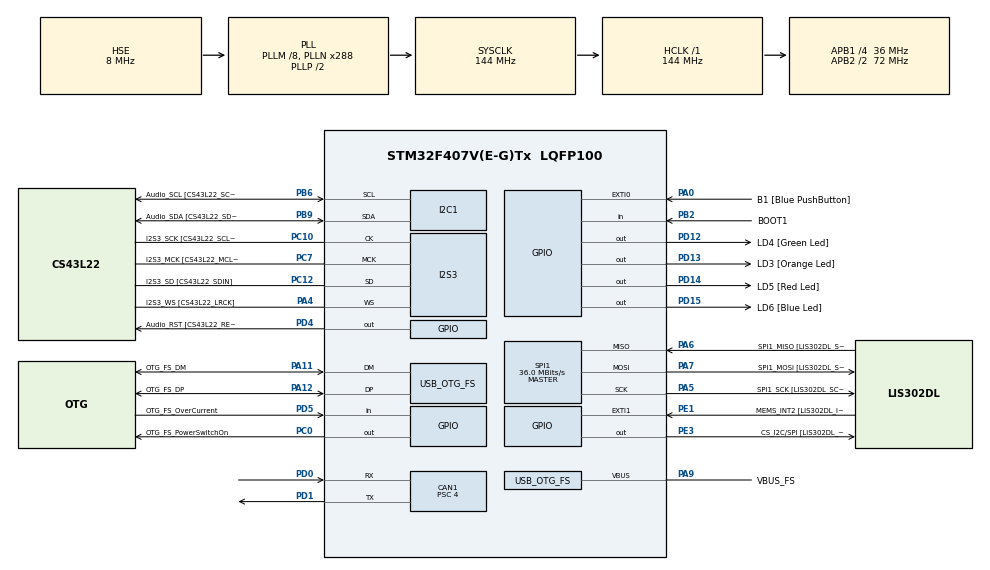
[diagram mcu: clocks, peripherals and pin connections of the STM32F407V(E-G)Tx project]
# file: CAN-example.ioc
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CAN1.BS1=CAN_BS1_12TQ
CAN1.BS2=CAN_BS2_5TQ
CAN1.CalculateTimeQuantum=111.11111111111111
CAN1.Prescaler=4
FREERTOS.MEMORY_ALLOCATION=2
FREERTOS.Tasks01=defaultTask,0,128,StartDefaultTask,Default,NULL,Static,defaultTaskBuffer,defaultTaskControlBlock
FREERTOS.configCHECK_FOR_STACK_OVERFLOW=1
FREERTOS.configUSE_MALLOC_FAILED_HOOK=1
I2S3.AudioFreq-Half_Duplex_Master=I2S_AUDIOFREQ_96K
I2S3.ErrorAudioFreq=-2.34 %
I2S3.ErrorAudioFreq-Half_Duplex_Master=0.8 %
I2S3.FullDuplexMode=I2S_FULLDUPLEXMODE_DISABLE
I2S3.Instance=SPI$Index
I2S3.RealAudioFreq=93.75 KHz
I2S3.RealAudioFreq-Half_Duplex_Master=96.774 KHz
I2S3.VirtualMode=I2S_MODE_MASTER
Mcu.Family=STM32F4
Mcu.Name=STM32F407V(E-G)Tx
Mcu.Package=LQFP100
NVIC.CAN1_RX0_IRQn=true\:0\:0\:false\:false\:true\:false\:true\:true
NVIC.EXTI0_IRQn=true\:0\:0\:false\:false\:true\:false\:true\:true
NVIC.OTG_FS_IRQn=true\:0\:0\:false\:false\:true\:false\:true\:true
NVIC.PriorityGroup=NVIC_PRIORITYGROUP_4
NVIC.TIM8_TRG_COM_TIM14_IRQn=true\:0\:0\:false\:false\:true\:false\:false\:true
NVIC.TimeBase=TIM8_TRG_COM_TIM14_IRQn
NVIC.TimeBaseIP=TIM14
PA0-WKUP.GPIO_Label=B1 [Blue PushButton]
PA0-WKUP.GPIO_ModeDefaultEXTI=GPIO_MODE_IT_RISING
PA0-WKUP.GPIO_PuPd=GPIO_NOPULL
PA0-WKUP.Signal=GPXTI0
PA10.GPIO_Label=OTG_FS_ID
PA10.GPIO_Mode=GPIO_MODE_AF_PP
PA10.GPIO_PuPd=GPIO_NOPULL
PA10.GPIO_Speed=GPIO_SPEED_FREQ_LOW
PA10.Signal=USB_OTG_FS_ID
PA11.GPIO_Label=OTG_FS_DM
PA11.GPIO_Mode=GPIO_MODE_AF_PP
PA11.GPIO_PuPd=GPIO_NOPULL
PA11.GPIO_Speed=GPIO_SPEED_FREQ_LOW
PA11.Mode=Host_Only
PA11.Signal=USB_OTG_FS_DM
PA12.GPIO_Label=OTG_FS_DP
PA12.GPIO_Mode=GPIO_MODE_AF_PP
PA12.GPIO_PuPd=GPIO_NOPULL
PA12.GPIO_Speed=GPIO_SPEED_FREQ_LOW
PA12.Mode=Host_Only
PA12.Signal=USB_OTG_FS_DP
PA13.GPIO_Label=SWDIO
PA13.Mode=Serial_Wire
PA13.Signal=SYS_JTMS-SWDIO
PA14.GPIO_Label=SWCLK
PA14.Mode=Serial_Wire
PA14.Signal=SYS_JTCK-SWCLK
PA4.GPIO_Label=I2S3_WS [CS43L22_LRCK]
PA4.GPIO_Mode=GPIO_MODE_AF_PP
PA4.GPIO_PuPd=GPIO_NOPULL
PA4.GPIO_Speed=GPIO_SPEED_FREQ_LOW
PA4.Mode=Half_Duplex_Master
PA4.Signal=I2S3_WS
PA5.GPIO_Label=SPI1_SCK [LIS302DL_SCL/SPC]
PA5.GPIO_Mode=GPIO_MODE_AF_PP
PA5.GPIO_PuPd=GPIO_NOPULL
PA5.GPIO_Speed=GPIO_SPEED_FREQ_LOW
PA5.Mode=Full_Duplex_Master
PA5.Signal=SPI1_SCK
PA6.GPIO_Label=SPI1_MISO [LIS302DL_SDO]
PA6.GPIO_Mode=GPIO_MODE_AF_PP
PA6.GPIO_PuPd=GPIO_NOPULL
PA6.GPIO_Speed=GPIO_SPEED_FREQ_LOW
PA6.Mode=Full_Duplex_Master
PA6.Signal=SPI1_MISO
PA7.GPIO_Label=SPI1_MOSI [LIS302DL_SDA/SDI/SDO]
PA7.GPIO_Mode=GPIO_MODE_AF_PP
PA7.GPIO_PuPd=GPIO_NOPULL
PA7.GPIO_Speed=GPIO_SPEED_FREQ_LOW
PA7.Mode=Full_Duplex_Master
PA7.Signal=SPI1_MOSI
PA9.GPIO_Label=VBUS_FS
PA9.GPIO_Mode=GPIO_MODE_INPUT
PA9.GPIO_PuPd=GPIO_NOPULL
PA9.Mode=Activate_VBUS
PA9.Signal=USB_OTG_FS_VBUS
PB10.GPIO_Label=CLK_IN [MP45DT02_CLK]
PB10.GPIO_Mode=GPIO_MODE_AF_PP
PB10.GPIO_PuPd=GPIO_NOPULL
PB10.GPIO_Speed=GPIO_SPEED_FREQ_LOW
PB10.Signal=I2S2_CK
PB2.GPIO_Label=BOOT1
PB2.GPIO_Mode=GPIO_MODE_INPUT
PB2.GPIO_PuPd=GPIO_NOPULL
PB2.Signal=GPIO_Input
PB3.GPIO_Label=SWO
PB3.Signal=SYS_JTDO-SWO
PB6.GPIO_Label=Audio_SCL [CS43L22_SCL]
PB6.GPIO_Mode=GPIO_MODE_AF_OD
PB6.GPIO_PuPd=GPIO_NOPULL
PB6.GPIO_Speed=GPIO_SPEED_FREQ_LOW
PB6.Mode=I2C
PB6.Signal=I2C1_SCL
PB9.GPIO_Label=Audio_SDA [CS43L22_SDA]
PB9.GPIO_Mode=GPIO_MODE_AF_OD
PB9.GPIO_PuPd=GPIO_NOPULL
PB9.GPIO_Speed=GPIO_SPEED_FREQ_LOW
PB9.Mode=I2C
PB9.Signal=I2C1_SDA
PC0.GPIO_Label=OTG_FS_PowerSwitchOn
PC0.GPIO_PuPd=GPIO_NOPULL
PC0.GPIO_Speed=GPIO_SPEED_FREQ_LOW
PC0.PinState=GPIO_PIN_SET
PC0.Signal=GPIO_Output
PC10.GPIO_Label=I2S3_SCK [CS43L22_SCLK]
PC10.GPIO_Mode=GPIO_MODE_AF_PP
PC10.GPIO_PuPd=GPIO_NOPULL
PC10.GPIO_Speed=GPIO_SPEED_FREQ_LOW
PC10.Mode=Half_Duplex_Master
PC10.Signal=I2S3_CK
PC12.GPIO_Label=I2S3_SD [CS43L22_SDIN]
PC12.GPIO_Mode=GPIO_MODE_AF_PP
PC12.GPIO_PuPd=GPIO_NOPULL
PC12.GPIO_Speed=GPIO_SPEED_FREQ_LOW
PC12.Mode=Half_Duplex_Master
PC12.Signal=I2S3_SD
PC14-OSC32_IN.GPIO_Label=PC14-OSC32_IN
PC14-OSC32_IN.Mode=LSE-External-Oscillator
PC14-OSC32_IN.Signal=RCC_OSC32_IN
PC15-OSC32_OUT.GPIO_Label=PC15-OSC32_OUT
PC15-OSC32_OUT.Mode=LSE-External-Oscillator
PC15-OSC32_OUT.Signal=RCC_OSC32_OUT
PC3.GPIO_Label=PDM_OUT [MP45DT02_DOUT]
PC3.GPIO_Mode=GPIO_MODE_AF_PP
PC3.GPIO_PuPd=GPIO_NOPULL
PC3.GPIO_Speed=GPIO_SPEED_FREQ_LOW
PC3.Signal=I2S2_SD
PC7.GPIO_Label=I2S3_MCK [CS43L22_MCLK]
PC7.GPIO_Mode=GPIO_MODE_AF_PP
PC7.GPIO_PuPd=GPIO_NOPULL
PC7.GPIO_Speed=GPIO_SPEED_FREQ_LOW
PC7.Mode=Master_Clock_Activated
PC7.Signal=I2S3_MCK
PD0.Mode=Master
PD0.Signal=CAN1_RX
PD1.Mode=Master
PD1.Signal=CAN1_TX
PD12.GPIO_Label=LD4 [Green Led]
PD12.GPIO_PuPd=GPIO_NOPULL
PD12.GPIO_Speed=GPIO_SPEED_FREQ_LOW
PD12.Signal=GPIO_Output
PD13.GPIO_Label=LD3 [Orange Led]
PD13.GPIO_PuPd=GPIO_NOPULL
PD13.GPIO_Speed=GPIO_SPEED_FREQ_LOW
PD13.Signal=GPIO_Output
PD14.GPIO_Label=LD5 [Red Led]
PD14.GPIO_PuPd=GPIO_NOPULL
PD14.GPIO_Speed=GPIO_SPEED_FREQ_LOW
PD14.Signal=GPIO_Output
PD15.GPIO_Label=LD6 [Blue Led]
PD15.GPIO_PuPd=GPIO_NOPULL
PD15.GPIO_Speed=GPIO_SPEED_FREQ_LOW
PD15.Signal=GPIO_Output
PD4.GPIO_Label=Audio_RST [CS43L22_RESET]
PD4.GPIO_PuPd=GPIO_NOPULL
PD4.GPIO_Speed=GPIO_SPEED_FREQ_LOW
PD4.Signal=GPIO_Output
PD5.GPIO_Label=OTG_FS_OverCurrent
PD5.GPIO_Mode=GPIO_MODE_INPUT
PD5.GPIO_PuPd=GPIO_NOPULL
PD5.Signal=GPIO_Input
PE1.GPIO_Label=MEMS_INT2 [LIS302DL_INT2]
PE1.GPIO_ModeDefaultEXTI=GPIO_MODE_EVT_RISING
PE1.GPIO_PuPd=GPIO_NOPULL
PE1.Signal=GPXTI1
PE3.GPIO_Label=CS_I2C/SPI [LIS302DL_CS_I2C/SPI]
PE3.GPIO_PuPd=GPIO_NOPULL
PE3.GPIO_Speed=GPIO_SPEED_FREQ_LOW
PE3.Signal=GPIO_Output
PH0-OSC_IN.GPIO_Label=PH0-OSC_IN
PH0-OSC_IN.Mode=HSE-External-Oscillator
PH0-OSC_IN.Signal=RCC_OSC_IN
PH1-OSC_OUT.GPIO_Label=PH1-OSC_OUT
PH1-OSC_OUT.Mode=HSE-External-Oscillator
PH1-OSC_OUT.Signal=RCC_OSC_OUT
ProjectManager.HeapSize=0x200
ProjectManager.StackSize=0x400
ProjectManager.TargetToolchain=STM32CubeIDE
RCC.48MHZClocksFreq_Value=48000000
RCC.AHBFreq_Value=144000000
RCC.APB1CLKDivider=RCC_HCLK_DIV4
RCC.APB1Freq_Value=36000000
RCC.APB1TimFreq_Value=72000000
RCC.APB2CLKDivider=RCC_HCLK_DIV2
RCC.APB2Freq_Value=72000000
RCC.APB2TimFreq_Value=144000000
RCC.CortexFreq_Value=144000000
RCC.HCLKFreq_Value=144000000
RCC.HSE_VALUE=8000000
RCC.HSI_VALUE=16000000
RCC.PLLM=8
RCC.PLLN=288
RCC.PLLQ=6
RCC.SYSCLKFreq_VALUE=144000000
RCC.SYSCLKSource=RCC_SYSCLKSOURCE_PLLCLK
RCC.VCOOutputFreq_Value=288000000
SPI1.BaudRatePrescaler-Full_Duplex_Master=SPI_BAUDRATEPRESCALER_2
SPI1.CalculateBaudRate=36.0 MBits/s
SPI1.CalculateBaudRate-Full_Duplex_Master=42.0 MBits/s
SPI1.Direction=SPI_DIRECTION_2LINES
SPI1.Mode=SPI_MODE_MASTER
SPI1.Mode-Full_Duplex_Master=SPI_MODE_MASTER
SPI1.VirtualType=VM_MASTER
USB_HOST.BSP.number=1
USB_HOST.USBH_HandleTypeDef-CDC_FS=hUsbHostFS
USB_HOST.USBH_USE_OS-CDC_FS=0
USB_HOST.VirtualModeFS=Cdc
USB_HOST0.BSP.STBoard=false
USB_HOST0.BSP.api=Unknown
USB_HOST0.BSP.i2caddr=0
USB_HOST0.BSP.i2creg=0
USB_HOST0.BSP.instance=PC0
USB_HOST0.BSP.ip=GPIO
USB_HOST0.BSP.mode=Output
USB_HOST0.BSP.name=Drive_VBUS_FS
USB_HOST0.BSP.solution=PC0
USB_OTG_FS.VirtualMode=Host_Only
USB_OTG_FS.phy_itface=HCD_PHY_EMBEDDED
VP_FREERTOS_VS_CMSIS_V1.Mode=CMSIS_V1
VP_SYS_VS_tim14.Mode=TIM14
VP_USB_HOST_VS_USB_HOST_CDC_FS.Mode=CDC_FS
board=STM32F407G-DISC1

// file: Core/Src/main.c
/* USER CODE BEGIN Header */
/**
  ******************************************************************************
  * @file           : main.c
  * @brief          : Main program body
  ******************************************************************************
  * @attention
  *
  * <h2><center>&copy; Copyright (c) 2020 STMicroelectronics.
  * All rights reserved.</center></h2>
  *
  * This software component is licensed by ST under Ultimate Liberty license
  * SLA0044, the "License"; You may not use this file except in compliance with
  * the License. You may obtain a copy of the License at:
  *                             www.st.com/SLA0044
  *
  ******************************************************************************
  */
/* USER CODE END Header */
#include "main.h"
#include "cmsis_os.h"
#include "usb_host.h"

CAN_HandleTypeDef hcan1;

I2C_HandleTypeDef hi2c1;

I2S_HandleTypeDef hi2s3;

SPI_HandleTypeDef hspi1;

osThreadId defaultTaskHandle;
uint32_t defaultTaskBuffer[ 128 ];
osStaticThreadDef_t defaultTaskControlBlock;
/* USER CODE BEGIN PV */
CAN_TxHeaderTypeDef pHeader; //declare a specific header for message transmittions
CAN_RxHeaderTypeDef pRxHeader; //declare header for message reception
uint32_t TxMailbox;
uint8_t a,r; //declare byte to be transmitted //declare a receive byte
CAN_FilterTypeDef sFilterConfig; //declare CAN filter structure
/* USER CODE END PV */

void SystemClock_Config(void);
static void MX_GPIO_Init(void);
static void MX_I2C1_Init(void);
static void MX_I2S3_Init(void);
static void MX_SPI1_Init(void);
static void MX_CAN1_Init(void);
void StartDefaultTask(void const * argument);

int main(void)
{

  /* MCU Configuration--------------------------------------------------------*/

  /* Reset of all peripherals, Initializes the Flash interface and the Systick. */
  HAL_Init();

  /* USER CODE BEGIN Init */
  uwTickPrio = 15;
  /* USER CODE END Init */

  /* Configure the system clock */
  SystemClock_Config();

  /* Initialize all configured peripherals */
  MX_GPIO_Init();
  MX_I2C1_Init();
  MX_I2S3_Init();
  MX_SPI1_Init();
  MX_CAN1_Init();
  /* USER CODE BEGIN 2 */
  pHeader.DLC=1; //give message size of 1 byte
  pHeader.IDE=CAN_ID_STD; //set identifier to standard
  pHeader.RTR=CAN_RTR_DATA; //set data type to remote transmission request?
  pHeader.StdId=0x244; //define a standard identifier, used for message identification by filters (switch this for the other microcontroller)

  //filter one (stack light blink)
  sFilterConfig.FilterFIFOAssignment=CAN_FILTER_FIFO0; //set fifo assignment
  sFilterConfig.FilterIdHigh=0x245<<5; //the ID that the filter looks for (switch this for the other microcontroller)
  sFilterConfig.FilterIdLow=0;
  sFilterConfig.FilterMaskIdHigh=0;
  sFilterConfig.FilterMaskIdLow=0;
  sFilterConfig.FilterScale=CAN_FILTERSCALE_32BIT; //set filter scale
  sFilterConfig.FilterActivation=ENABLE;

  HAL_CAN_ConfigFilter(&hcan1, &sFilterConfig); //configure CAN filter

  HAL_CAN_Start(&hcan1); //start CAN
  HAL_CAN_ActivateNotification(&hcan1, CAN_IT_RX_FIFO0_MSG_PENDING); //enable interrupts
  /* USER CODE END 2 */

  /* Create the thread(s) */
  /* definition and creation of defaultTask */
  osThreadStaticDef(defaultTask, StartDefaultTask, osPriorityNormal, 0, 128, defaultTaskBuffer, &defaultTaskControlBlock);
  defaultTaskHandle = osThreadCreate(osThread(defaultTask), NULL);

  /* Start scheduler */
  osKernelStart();

  /* We should never get here as control is now taken by the scheduler */
  /* Infinite loop */
  while (1)
  {

  }
}

void SystemClock_Config(void)
{
  RCC_OscInitTypeDef RCC_OscInitStruct = {0};
  RCC_ClkInitTypeDef RCC_ClkInitStruct = {0};
  RCC_PeriphCLKInitTypeDef PeriphClkInitStruct = {0};

  /** Configure the main internal regulator output voltage
  */
  __HAL_RCC_PWR_CLK_ENABLE();
  __HAL_PWR_VOLTAGESCALING_CONFIG(PWR_REGULATOR_VOLTAGE_SCALE1);
  /** Initializes the RCC Oscillators according to the specified parameters
  * in the RCC_OscInitTypeDef structure.
  */
  RCC_OscInitStruct.OscillatorType = RCC_OSCILLATORTYPE_HSE;
  RCC_OscInitStruct.HSEState = RCC_HSE_ON;
  RCC_OscInitStruct.PLL.PLLState = RCC_PLL_ON;
  RCC_OscInitStruct.PLL.PLLSource = RCC_PLLSOURCE_HSE;
  RCC_OscInitStruct.PLL.PLLM = 8;
  RCC_OscInitStruct.PLL.PLLN = 288;
  RCC_OscInitStruct.PLL.PLLP = RCC_PLLP_DIV2;
  RCC_OscInitStruct.PLL.PLLQ = 6;
  if (HAL_RCC_OscConfig(&RCC_OscInitStruct) != HAL_OK)
  {
    Error_Handler();
  }
  /** Initializes the CPU, AHB and APB buses clocks
  */
  RCC_ClkInitStruct.ClockType = RCC_CLOCKTYPE_HCLK|RCC_CLOCKTYPE_SYSCLK
                              |RCC_CLOCKTYPE_PCLK1|RCC_CLOCKTYPE_PCLK2;
  RCC_ClkInitStruct.SYSCLKSource = RCC_SYSCLKSOURCE_PLLCLK;
  RCC_ClkInitStruct.AHBCLKDivider = RCC_SYSCLK_DIV1;
  RCC_ClkInitStruct.APB1CLKDivider = RCC_HCLK_DIV4;
  RCC_ClkInitStruct.APB2CLKDivider = RCC_HCLK_DIV2;

  if (HAL_RCC_ClockConfig(&RCC_ClkInitStruct, FLASH_LATENCY_4) != HAL_OK)
  {
    Error_Handler();
  }
  PeriphClkInitStruct.PeriphClockSelection = RCC_PERIPHCLK_I2S;
  PeriphClkInitStruct.PLLI2S.PLLI2SN = 192;
  PeriphClkInitStruct.PLLI2S.PLLI2SR = 2;
  if (HAL_RCCEx_PeriphCLKConfig(&PeriphClkInitStruct) != HAL_OK)
  {
    Error_Handler();
  }
}

static void MX_CAN1_Init(void)
{

  hcan1.Instance = CAN1;
  hcan1.Init.Prescaler = 4;
  hcan1.Init.Mode = CAN_MODE_NORMAL;
  hcan1.Init.SyncJumpWidth = CAN_SJW_1TQ;
  hcan1.Init.TimeSeg1 = CAN_BS1_12TQ;
  hcan1.Init.TimeSeg2 = CAN_BS2_5TQ;
  hcan1.Init.TimeTriggeredMode = DISABLE;
  hcan1.Init.AutoBusOff = DISABLE;
  hcan1.Init.AutoWakeUp = DISABLE;
  hcan1.Init.AutoRetransmission = DISABLE;
  hcan1.Init.ReceiveFifoLocked = DISABLE;
  hcan1.Init.TransmitFifoPriority = DISABLE;
  if (HAL_CAN_Init(&hcan1) != HAL_OK)
  {
    Error_Handler();
  }

}

static void MX_I2C1_Init(void)
{

  hi2c1.Instance = I2C1;
  hi2c1.Init.ClockSpeed = 100000;
  hi2c1.Init.DutyCycle = I2C_DUTYCYCLE_2;
  hi2c1.Init.OwnAddress1 = 0;
  hi2c1.Init.AddressingMode = I2C_ADDRESSINGMODE_7BIT;
  hi2c1.Init.DualAddressMode = I2C_DUALADDRESS_DISABLE;
  hi2c1.Init.OwnAddress2 = 0;
  hi2c1.Init.GeneralCallMode = I2C_GENERALCALL_DISABLE;
  hi2c1.Init.NoStretchMode = I2C_NOSTRETCH_DISABLE;
  if (HAL_I2C_Init(&hi2c1) != HAL_OK)
  {
    Error_Handler();
  }

}

static void MX_I2S3_Init(void)
{

  hi2s3.Instance = SPI3;
  hi2s3.Init.Mode = I2S_MODE_MASTER_TX;
  hi2s3.Init.Standard = I2S_STANDARD_PHILIPS;
  hi2s3.Init.DataFormat = I2S_DATAFORMAT_16B;
  hi2s3.Init.MCLKOutput = I2S_MCLKOUTPUT_ENABLE;
  hi2s3.Init.AudioFreq = I2S_AUDIOFREQ_96K;
  hi2s3.Init.CPOL = I2S_CPOL_LOW;
  hi2s3.Init.ClockSource = I2S_CLOCK_PLL;
  hi2s3.Init.FullDuplexMode = I2S_FULLDUPLEXMODE_DISABLE;
  if (HAL_I2S_Init(&hi2s3) != HAL_OK)
  {
    Error_Handler();
  }

}

static void MX_SPI1_Init(void)
{

  /* SPI1 parameter configuration*/
  hspi1.Instance = SPI1;
  hspi1.Init.Mode = SPI_MODE_MASTER;
  hspi1.Init.Direction = SPI_DIRECTION_2LINES;
  hspi1.Init.DataSize = SPI_DATASIZE_8BIT;
  hspi1.Init.CLKPolarity = SPI_POLARITY_LOW;
  hspi1.Init.CLKPhase = SPI_PHASE_1EDGE;
  hspi1.Init.NSS = SPI_NSS_SOFT;
  hspi1.Init.BaudRatePrescaler = SPI_BAUDRATEPRESCALER_2;
  hspi1.Init.FirstBit = SPI_FIRSTBIT_MSB;
  hspi1.Init.TIMode = SPI_TIMODE_DISABLE;
  hspi1.Init.CRCCalculation = SPI_CRCCALCULATION_DISABLE;
  hspi1.Init.CRCPolynomial = 10;
  if (HAL_SPI_Init(&hspi1) != HAL_OK)
  {
    Error_Handler();
  }

}

static void MX_GPIO_Init(void)
{
  GPIO_InitTypeDef GPIO_InitStruct = {0};

  /* GPIO Ports Clock Enable */
  __HAL_RCC_GPIOE_CLK_ENABLE();
  __HAL_RCC_GPIOC_CLK_ENABLE();
  __HAL_RCC_GPIOH_CLK_ENABLE();
  __HAL_RCC_GPIOA_CLK_ENABLE();
  __HAL_RCC_GPIOB_CLK_ENABLE();
  __HAL_RCC_GPIOD_CLK_ENABLE();

  /*Configure GPIO pin Output Level */
  HAL_GPIO_WritePin(CS_I2C_SPI_GPIO_Port, CS_I2C_SPI_Pin, GPIO_PIN_RESET);

  /*Configure GPIO pin Output Level */
  HAL_GPIO_WritePin(OTG_FS_PowerSwitchOn_GPIO_Port, OTG_FS_PowerSwitchOn_Pin, GPIO_PIN_SET);

  /*Configure GPIO pin Output Level */
  HAL_GPIO_WritePin(GPIOD, LD4_Pin|LD3_Pin|LD5_Pin|LD6_Pin
                          |Audio_RST_Pin, GPIO_PIN_RESET);

  /*Configure GPIO pin : CS_I2C_SPI_Pin */
  GPIO_InitStruct.Pin = CS_I2C_SPI_Pin;
  GPIO_InitStruct.Mode = GPIO_MODE_OUTPUT_PP;
  GPIO_InitStruct.Pull = GPIO_NOPULL;
  GPIO_InitStruct.Speed = GPIO_SPEED_FREQ_LOW;
  HAL_GPIO_Init(CS_I2C_SPI_GPIO_Port, &GPIO_InitStruct);

  /*Configure GPIO pin : OTG_FS_PowerSwitchOn_Pin */
  GPIO_InitStruct.Pin = OTG_FS_PowerSwitchOn_Pin;
  GPIO_InitStruct.Mode = GPIO_MODE_OUTPUT_PP;
  GPIO_InitStruct.Pull = GPIO_NOPULL;
  GPIO_InitStruct.Speed = GPIO_SPEED_FREQ_LOW;
  HAL_GPIO_Init(OTG_FS_PowerSwitchOn_GPIO_Port, &GPIO_InitStruct);

  /*Configure GPIO pin : PDM_OUT_Pin */
  GPIO_InitStruct.Pin = PDM_OUT_Pin;
  GPIO_InitStruct.Mode = GPIO_MODE_AF_PP;
  GPIO_InitStruct.Pull = GPIO_NOPULL;
  GPIO_InitStruct.Speed = GPIO_SPEED_FREQ_LOW;
  GPIO_InitStruct.Alternate = GPIO_AF5_SPI2;
  HAL_GPIO_Init(PDM_OUT_GPIO_Port, &GPIO_InitStruct);

  /*Configure GPIO pin : B1_Pin */
  GPIO_InitStruct.Pin = B1_Pin;
  GPIO_InitStruct.Mode = GPIO_MODE_IT_RISING;
  GPIO_InitStruct.Pull = GPIO_NOPULL;
  HAL_GPIO_Init(B1_GPIO_Port, &GPIO_InitStruct);

  /*Configure GPIO pin : BOOT1_Pin */
  GPIO_InitStruct.Pin = BOOT1_Pin;
  GPIO_InitStruct.Mode = GPIO_MODE_INPUT;
  GPIO_InitStruct.Pull = GPIO_NOPULL;
  HAL_GPIO_Init(BOOT1_GPIO_Port, &GPIO_InitStruct);

  /*Configure GPIO pin : CLK_IN_Pin */
  GPIO_InitStruct.Pin = CLK_IN_Pin;
  GPIO_InitStruct.Mode = GPIO_MODE_AF_PP;
  GPIO_InitStruct.Pull = GPIO_NOPULL;
  GPIO_InitStruct.Speed = GPIO_SPEED_FREQ_LOW;
  GPIO_InitStruct.Alternate = GPIO_AF5_SPI2;
  HAL_GPIO_Init(CLK_IN_GPIO_Port, &GPIO_InitStruct);

  /*Configure GPIO pins : LD4_Pin LD3_Pin LD5_Pin LD6_Pin
                           Audio_RST_Pin */
  GPIO_InitStruct.Pin = LD4_Pin|LD3_Pin|LD5_Pin|LD6_Pin
                          |Audio_RST_Pin;
  GPIO_InitStruct.Mode = GPIO_MODE_OUTPUT_PP;
  GPIO_InitStruct.Pull = GPIO_NOPULL;
  GPIO_InitStruct.Speed = GPIO_SPEED_FREQ_LOW;
  HAL_GPIO_Init(GPIOD, &GPIO_InitStruct);

  /*Configure GPIO pin : OTG_FS_OverCurrent_Pin */
  GPIO_InitStruct.Pin = OTG_FS_OverCurrent_Pin;
  GPIO_InitStruct.Mode = GPIO_MODE_INPUT;
  GPIO_InitStruct.Pull = GPIO_NOPULL;
  HAL_GPIO_Init(OTG_FS_OverCurrent_GPIO_Port, &GPIO_InitStruct);

  /*Configure GPIO pin : MEMS_INT2_Pin */
  GPIO_InitStruct.Pin = MEMS_INT2_Pin;
  GPIO_InitStruct.Mode = GPIO_MODE_EVT_RISING;
  GPIO_InitStruct.Pull = GPIO_NOPULL;
  HAL_GPIO_Init(MEMS_INT2_GPIO_Port, &GPIO_InitStruct);

  /* EXTI interrupt init*/
  HAL_NVIC_SetPriority(EXTI0_IRQn, 0, 0);
  HAL_NVIC_EnableIRQ(EXTI0_IRQn);

}

void StartDefaultTask(void const * argument)
{
  /* init code for USB_HOST */
  MX_USB_HOST_Init();
  /* USER CODE BEGIN 5 */
  /* Infinite loop */
  for(;;)
  {
    osDelay(500);
    HAL_GPIO_TogglePin(GPIOD, GPIO_PIN_15);
  }
  /* USER CODE END 5 */
}

void HAL_TIM_PeriodElapsedCallback(TIM_HandleTypeDef *htim)
{
  if (htim->Instance == TIM14) {
    HAL_IncTick();
  }
}

void Error_Handler(void)
{
}

#ifdef  USE_FULL_ASSERT
/**
  * @brief  Reports the name of the source file and the source line number
  *         where the assert_param error has occurred.
  * @param  file: pointer to the source file name
  * @param  line: assert_param error line source number
  * @retval None
  */
void assert_failed(uint8_t *file, uint32_t line)
{
  /* USER CODE BEGIN 6 */
	asm volatile("bkpt");
  /* User can add his own implementation to report the file name and line number,
     tex: printf("Wrong parameters value: file %s on line %d\r\n", file, line) */
  /* USER CODE END 6 */
}
#endif /* USE_FULL_ASSERT */

/************************ (C) COPYRIGHT STMicroelectronics *****END OF FILE****/
